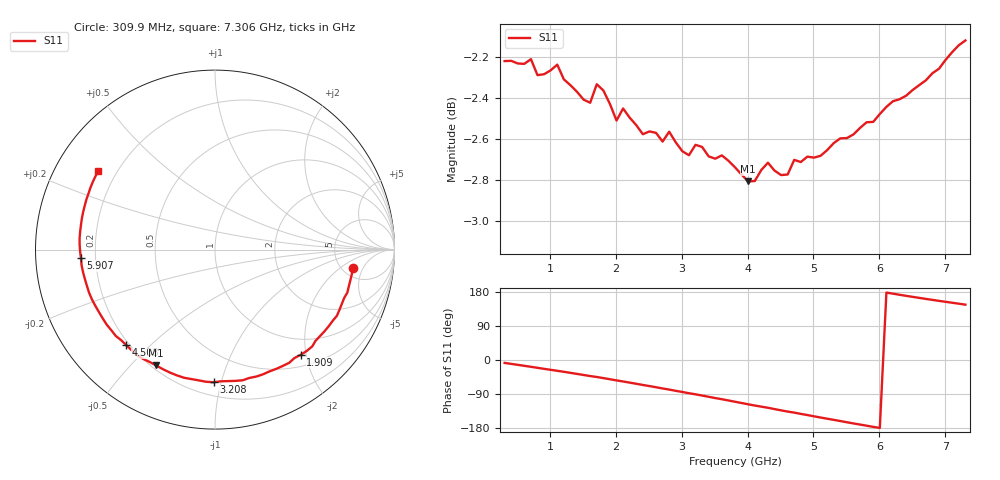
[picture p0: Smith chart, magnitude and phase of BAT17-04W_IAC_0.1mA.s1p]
! Infineon Technologies  Discrete & RF Semiconductors
! BAT17-04W
! IAC = 0.1 mA
! One-Port S-Parameters
# Hz  S  MA  R  50
!f  S11
!Hz  Mag  Ang
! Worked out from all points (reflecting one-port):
!   71 points, 309.9 MHz to 7.306 GHz, reference 50 ohm
!   lowest |S11| = -2.8 dB at 4.008 GHz (marker M1), VSWR 6.25, Z = 10.9 - j29.6 ohm
!   phase of S11 starts at -8 deg and turns -206 deg over the sweep
!   S11 on the Smith chart (normalised r, x): 309.9 MHz: 6.17, -3.20; 1.909 GHz: 0.70, -1.90; 3.208 GHz: 0.29, -0.95; 4.508 GHz: 0.19, -0.42; 5.907 GHz: 0.14, -0.03; 7.306 GHz: 0.13, +0.30
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3.0985e8  0.7744 -7.7
7.0965e8  0.7752 -18.0
1.10945e9  0.7728 -28.5
1.2094e9  0.7665 -31.1
1.6092e9  0.7565 -42.3
1.70915e9  0.7644 -44.8
1.90905e9  0.756 -50.7
2.009e9  0.749 -53.8
2.10895e9  0.7541 -56.7
2.6087e9  0.7439 -71.9
2.8086e9  0.7444 -78.0
3.0085e9  0.7363 -84.4
3.2084e9  0.7389 -90.6
3.6082e9  0.7346 -103.5
3.8081e9  0.7297 -110.1
4.008e9  0.7239 -116.9
4.30785e9  0.7316 -126.1
4.50775e9  0.7265 -132.9
4.70765e9  0.7327 -138.9
4.90755e9  0.734 -145.3
5.2074e9  0.7367 -154.9
5.4073e9  0.7416 -161.1
5.6072e9  0.7432 -167.4
5.90705e9  0.7485 -176.5
6.2069e9  0.7572 175.1
6.50675e9  0.762 166.6
7.0065e9  0.7749 153.5
7.30635e9  0.7834 146.1
